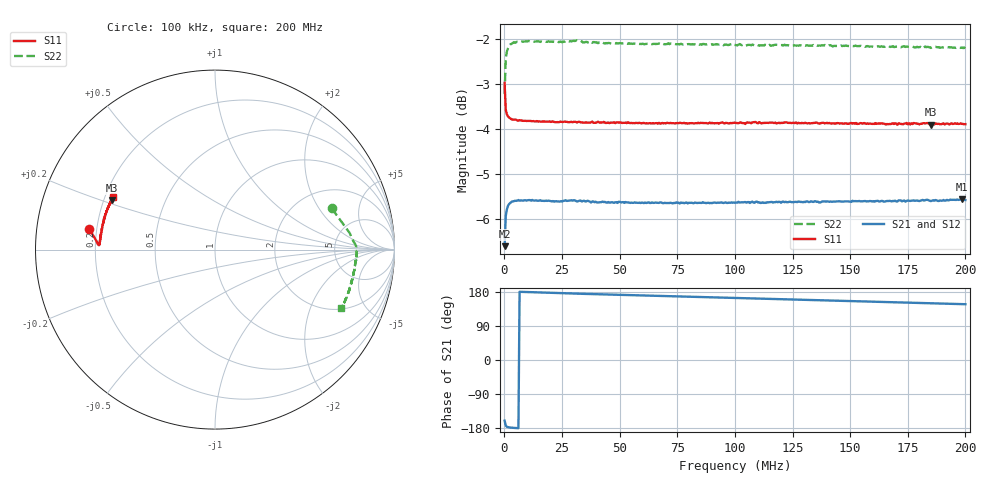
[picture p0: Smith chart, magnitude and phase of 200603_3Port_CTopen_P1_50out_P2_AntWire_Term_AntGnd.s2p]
# MHz S RI R 50
! S-Parameters data
! Freq  reS11  imS11  reS21  imS21  reS12  imS12  reS22  imS22
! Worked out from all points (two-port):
!   401 points, 100 kHz to 200 MHz, reference 50 ohm
!   highest |S21| = -5.56 dB at 198.5 MHz (marker M1); lowest = -6.6 dB at 100 kHz (marker M2)
!   |S21| within 3 dB of the highest: start of sweep to end of sweep
!   lowest |S11| = -3.9 dB at 185 MHz (marker M3), VSWR 4.52, Z = 11.6 + j10.7 ohm
!   |S11| at or under -10 dB: nowhere
!   |S22| runs from -3.2 to -2.0 dB; largest |S21 - S12| = 0.016
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0.1  -0.7007 0.1146  -0.4398 -0.1592  -0.4403 -0.1432  0.6506 0.2297
0.59975  -0.6609 0.0489  -0.5016 -0.0601  -0.5036 -0.0505  0.7505 0.0923
1.59925  -0.6509 0.0283  -0.5182 -0.0255  -0.5188 -0.0146  0.7748 0.0395
2.099  -0.6489 0.0262  -0.5206 -0.0201  -0.5219 -0.0092  0.78 0.0321
2.59875  -0.6478 0.0251  -0.5221 -0.0162  -0.5236 -0.00514  0.7829 0.0266
3.59825  -0.6459 0.0242  -0.5243 -0.0105  -0.5249 0.00049  0.7857 0.0188
5.0975  -0.6457 0.0243  -0.5251 -0.0044  -0.5261 0.00678  0.7875 0.0111
7.0965  -0.6446 0.0263  -0.5257 0.00101  -0.5257 0.0126  0.7888 0.00375
11.59425  -0.6432 0.0323  -0.5253 0.0112  -0.526 0.0218  0.7893 -0.00729
24.58775  -0.6409 0.0502  -0.5236 0.0332  -0.5239 0.0449  0.7881 -0.0328
30.58475  -0.64 0.0598  -0.524 0.0434  -0.5229 0.0547  0.7887 -0.045
33.58325  -0.6385 0.0639  -0.5221 0.0482  -0.5222 0.0599  0.7875 -0.0517
47.0765  -0.6356 0.0844  -0.5185 0.0683  -0.5173 0.0801  0.7812 -0.0742
67.0665  -0.6308 0.113  -0.5131 0.0981  -0.5119 0.1104  0.7776 -0.1078
100.05  -0.6207 0.161  -0.5018 0.1458  -0.4984 0.1584  0.7652 -0.1619
118.041  -0.6126 0.185  -0.4952 0.1715  -0.4894 0.1841  0.7581 -0.1932
133.5333  -0.6065 0.2069  -0.4866 0.1943  -0.4806 0.2058  0.7495 -0.2182
167.0165  -0.5877 0.251  -0.4666 0.241  -0.4595 0.252  0.7288 -0.2745
182.5087  -0.5793 0.2724  -0.456 0.2621  -0.4484 0.2716  0.719 -0.2996
185.0075  -0.5756 0.2746  -0.4531 0.2648  -0.4454 0.2746  0.7144 -0.3034
198.5008  -0.5682 0.2928  -0.4442 0.284  -0.4354 0.2921  0.7061 -0.3251
200  -0.5667 0.2949  -0.4423 0.285  -0.4339 0.2943  0.7031 -0.3275
